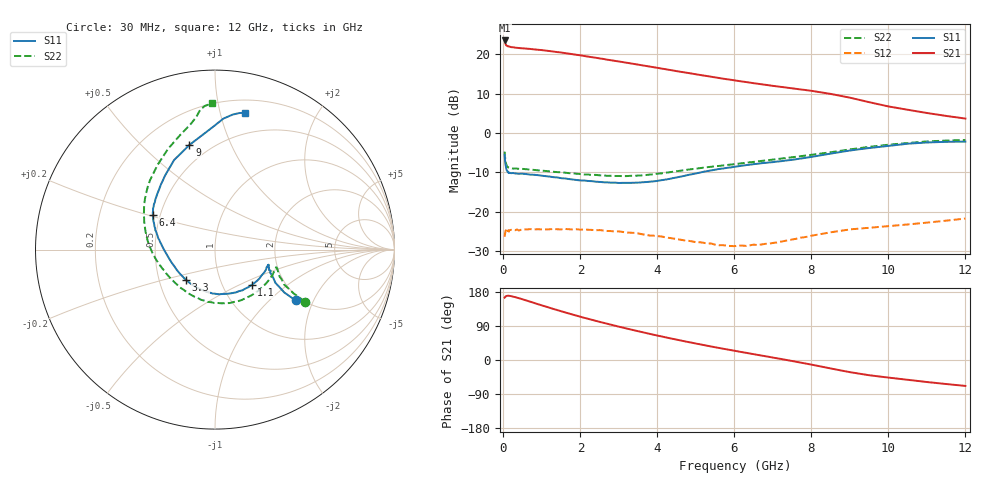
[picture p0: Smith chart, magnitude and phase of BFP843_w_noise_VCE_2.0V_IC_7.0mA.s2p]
! Infineon Technologies  Discrete & RF Semiconductors
! BFP843
! VCE =  2.0 V,  IC =  7.0 mA
! Common Emitter S-Parameters:  Aug 2013
# GHz  S  MA  R  50
!  f  S11  S21  S12  S22
! GHz  MAG  ANG  MAG  ANG  MAG  ANG  MAG  ANG
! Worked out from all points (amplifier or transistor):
!   103 points, 30 MHz to 12 GHz, reference 50 ohm
!   highest |S21| = 23.5 dB at 30 MHz (marker M1)
!   |S21| within 3 dB of that: start of sweep to 1.444 GHz
!   unconditionally stable (mu >= 1): 136.3 MHz to 147.8 MHz; 155.2 MHz to 10.87 GHz
!   at 400 MHz: K = 1.02, MAG = 22.3 dB, |S12| = -24.7 dB
!   at 3.7 GHz: K = 1.30, MAG = 18.1 dB, |S12| = -25.8 dB
!   at 12 GHz: K = 0.82, MSG = 12.7 dB, |S12| = -21.7 dB
!   lowest NFmin = 0.91 dB at 450 MHz
!   S11 on the Smith chart (normalised r, x): 30 MHz: 1.87, -1.47; 1.1 GHz: 1.36, -0.59; 3.3 GHz: 0.69, -0.25; 6.4 GHz: 0.46, +0.21; 9 GHz: 0.39, +0.71; 12 GHz: 0.31, +1.19
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0.03  0.5304 -32.2  14.95 164.5  0.0483 30.6  0.5807 -30.0
0.04  0.4555 -31.8  14.09 165.3  0.0523 23.9  0.5043 -29.2
0.05  0.4103 -30.0  13.58 167.5  0.0556 17.0  0.4595 -27.8
0.07  0.3588 -25.6  13 168.6  0.0568 13.2  0.4071 -24.1
0.13  0.3187 -18.8  12.61 169.7  0.0581 7.5  0.3634 -17.6
0.2  0.3095 -15.8  12.29 168.5  0.0592 4.3  0.3559 -16.1
0.7  0.2967 -29.1  11.66 153.7  0.0604 -0.5  0.344 -30.5
1.1  0.2837 -44.2  11.11 141.0  0.0599 -4.0  0.3297 -46.7
1.3  0.2754 -51.9  10.8 134.6  0.0607 -4.9  0.3224 -54.7
1.6  0.2654 -64.0  10.32 125.6  0.0606 -6.7  0.314 -66.8
2.1  0.2497 -84.8  9.487 111.3  0.0597 -11.0  0.2979 -86.9
2.6  0.2373 -105.1  8.704 98.1  0.0579 -14.5  0.2902 -105.7
3.3  0.2334 -133.7  7.655 80.6  0.0544 -18.4  0.2865 -131.9
4.1  0.2521 -163.1  6.578 62.3  0.0488 -21.4  0.3076 -158.2
5  0.3075 172.5  5.562 43.4  0.0412 -20.4  0.3535 -178.8
6.1  0.3793 154.9  4.583 22.6  0.0373 -9.0  0.4085 162.7
6.4  0.3967 150.8  4.365 17.1  0.0376 -5.6  0.4255 158.1
7.5  0.4576 132.9  3.692 -2.7  0.0446 4.9  0.493 141.5
8.5  0.5485 114.6  3.136 -22.3  0.055 4.4  0.5704 124.1
9  0.6004 103.7  2.81 -32.1  0.0599 2.3  0.6196 114.9
10.5  0.7317 86.3  1.974 -52.2  0.0692 -4.1  0.7465 98.0
12  0.7787 77.8  1.526 -68.4  0.0822 -11.2  0.8152 91.2
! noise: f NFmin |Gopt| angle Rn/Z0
0.45  0.91  0.12  7  0.01
0.9  0.92  0.13  16  0.03
1.5  0.95  0.12  26  0.09
1.9  0.97  0.1  39  0.18
2.4  1.01  0.09  49  0.25
3.5  1.08  0.06  61  0.28
5.5  1.24  0.14  -140  0.35
10  1.91  0.5  -70  0.42
